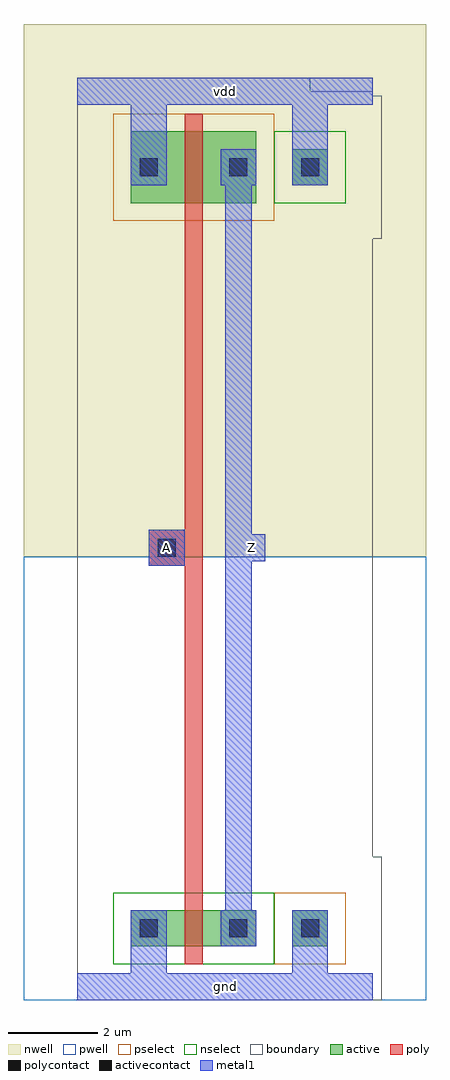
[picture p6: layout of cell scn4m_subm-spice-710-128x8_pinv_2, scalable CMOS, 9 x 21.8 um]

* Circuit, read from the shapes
.subckt scn4m_subm-spice-710-128x8_pinv_2 A Z gnd vdd
M1 Z A gnd gnd nfet w=0.8u l=0.4u
M2 Z A vdd vdd pfet w=1.6u l=0.4u
.ends

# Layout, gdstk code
import gdstk
lib = gdstk.Library(unit=1e-6, precision=1e-09)
def R(c, l, rs):  # rectangles x0, y0, x1, y1
    for r in rs: c.add(gdstk.rectangle(r[:2], r[2:], *l))
pwell = (41, 0)
nwell = (42, 0)
active = (43, 0)
pselect = (44, 0)
nselect = (45, 0)
poly = (46, 0)
polycontact = (47, 0)
activecontact = (48, 0)
metal1 = (49, 0)
boundary = (63, 0)

scn4m_subm_spice_710_128 = lib.new_cell('scn4m_subm-spice-710-128x8_contact_12')
R(scn4m_subm_spice_710_128, nwell, [(-1.2,-1.2,2,2)])
R(scn4m_subm_spice_710_128, active, [(0,0,0.8,0.8)])
R(scn4m_subm_spice_710_128, pselect, [(-0.4,-0.4,1.2,1.2)])
R(scn4m_subm_spice_710_128, activecontact, [(0.2,0.2,0.6,0.6)])
R(scn4m_subm_spice_710_128, metal1, [(0,0,0.8,0.8)])
R(scn4m_subm_spice_710_128, boundary, [(-1.2,-1.2,2,2)])

c_scn4m_subm_spice_710_128 = lib.new_cell('scn4m_subm-spice-710-128x8_pmos_m1_w1_600_sm1_dm1_da_p')
R(c_scn4m_subm_spice_710_128, nwell, [(-1.2,-1.2,4,2.8)])
R(c_scn4m_subm_spice_710_128, active, [(0,0,2.8,1.6)])
R(c_scn4m_subm_spice_710_128, pselect, [(-0.4,-0.4,3.2,2)])
R(c_scn4m_subm_spice_710_128, poly, [(1.2,-0.4,1.6,2), (1.2,-0.4,1.6,2)])
R(c_scn4m_subm_spice_710_128, metal1, [(0,0.4,0.8,1.2), (2,0.4,2.8,1.2)])
R(c_scn4m_subm_spice_710_128, boundary, [(-1.2,-1.2,4,2.8)])
c_scn4m_subm_spice_710_128.add(gdstk.Reference(scn4m_subm_spice_710_128, (0,0.4)))
c_scn4m_subm_spice_710_128.add(gdstk.Reference(scn4m_subm_spice_710_128, (2,0.4)))
c_scn4m_subm_spice_710_128.add(gdstk.Label('G', (1.4,0.8), layer=46, texttype=0))
c_scn4m_subm_spice_710_128.add(gdstk.Label('S', (0.4,0.8), layer=49, texttype=0))
c_scn4m_subm_spice_710_128.add(gdstk.Label('D', (2.4,0.8), layer=49, texttype=0))

c_scn4m_subm_spice_710_128_ = lib.new_cell('scn4m_subm-spice-710-128x8_contact_11')
R(c_scn4m_subm_spice_710_128_, pwell, [(-1.2,-1.2,2,2)])
R(c_scn4m_subm_spice_710_128_, active, [(0,0,0.8,0.8)])
R(c_scn4m_subm_spice_710_128_, nselect, [(-0.4,-0.4,1.2,1.2)])
R(c_scn4m_subm_spice_710_128_, activecontact, [(0.2,0.2,0.6,0.6)])
R(c_scn4m_subm_spice_710_128_, metal1, [(0,0,0.8,0.8)])
R(c_scn4m_subm_spice_710_128_, boundary, [(-1.2,-1.2,2,2)])

c_scn4m_subm_spice_710_128__ = lib.new_cell('scn4m_subm-spice-710-128x8_nmos_m1_w0_800_sm1_dm1_da_p')
R(c_scn4m_subm_spice_710_128__, pwell, [(-1.2,-1.2,4,2)])
R(c_scn4m_subm_spice_710_128__, active, [(0,0,2.8,0.8)])
R(c_scn4m_subm_spice_710_128__, nselect, [(-0.4,-0.4,3.2,1.2)])
R(c_scn4m_subm_spice_710_128__, poly, [(1.2,-0.4,1.6,1.2), (1.2,-0.4,1.6,1.2)])
R(c_scn4m_subm_spice_710_128__, metal1, [(0,0,0.8,0.8), (2,0,2.8,0.8)])
R(c_scn4m_subm_spice_710_128__, boundary, [(-1.2,-1.2,4,2)])
c_scn4m_subm_spice_710_128__.add(gdstk.Reference(c_scn4m_subm_spice_710_128_, (0,0)))
c_scn4m_subm_spice_710_128__.add(gdstk.Reference(c_scn4m_subm_spice_710_128_, (2,0)))
c_scn4m_subm_spice_710_128__.add(gdstk.Label('G', (1.4,0.4), layer=46, texttype=0))
c_scn4m_subm_spice_710_128__.add(gdstk.Label('S', (0.4,0.4), layer=49, texttype=0))
c_scn4m_subm_spice_710_128__.add(gdstk.Label('D', (2.4,0.4), layer=49, texttype=0))

c_scn4m_subm_spice_710_128___ = lib.new_cell('scn4m_subm-spice-710-128x8_contact_13')
R(c_scn4m_subm_spice_710_128___, nwell, [(-1.2,-1.2,2,2)])
R(c_scn4m_subm_spice_710_128___, active, [(0,0,0.8,0.8)])
R(c_scn4m_subm_spice_710_128___, nselect, [(-0.4,-0.4,1.2,1.2)])
R(c_scn4m_subm_spice_710_128___, activecontact, [(0.2,0.2,0.6,0.6)])
R(c_scn4m_subm_spice_710_128___, metal1, [(0,0,0.8,0.8)])
R(c_scn4m_subm_spice_710_128___, boundary, [(-1.2,-1.2,2,2)])

c_scn4m_subm_spice_710_128____ = lib.new_cell('scn4m_subm-spice-710-128x8_contact_14')
R(c_scn4m_subm_spice_710_128____, pwell, [(-1.2,-1.2,2,2)])
R(c_scn4m_subm_spice_710_128____, active, [(0,0,0.8,0.8)])
R(c_scn4m_subm_spice_710_128____, pselect, [(-0.4,-0.4,1.2,1.2)])
R(c_scn4m_subm_spice_710_128____, activecontact, [(0.2,0.2,0.6,0.6)])
R(c_scn4m_subm_spice_710_128____, metal1, [(0,0,0.8,0.8)])
R(c_scn4m_subm_spice_710_128____, boundary, [(-1.2,-1.2,2,2)])

c_scn4m_subm_spice_710_128_____ = lib.new_cell('scn4m_subm-spice-710-128x8_contact_15')
R(c_scn4m_subm_spice_710_128_____, poly, [(0,0,0.8,0.8)])
R(c_scn4m_subm_spice_710_128_____, polycontact, [(0.2,0.2,0.6,0.6)])
R(c_scn4m_subm_spice_710_128_____, metal1, [(0,0,0.8,0.8)])
R(c_scn4m_subm_spice_710_128_____, boundary, [(0,0,0.8,0.8)])

c_scn4m_subm_spice_710_128______ = lib.new_cell('scn4m_subm-spice-710-128x8_pinv_2')
R(c_scn4m_subm_spice_710_128______, pwell, [(-1.2,-0.3,7.8,9.6)])
R(c_scn4m_subm_spice_710_128______, nwell, [(-1.2,9.6,7.8,21.5)])
R(c_scn4m_subm_spice_710_128______, poly, [(2.4,2.1,2.8,17.1), (2,9.4,2.4,10.2)])
R(c_scn4m_subm_spice_710_128______, metal1, [(0,-0.3,6.6,0.3), (1.2,-0.3,2,0.9), (4.8,0,5.6,1.3), (3.3,0.9,3.9,18.7), (1.6,9.4,2.4,10.2), (3.6,9.5,4.2,10.1), (1.2,17.9,2,20.3), (4.8,18.3,5.6,20), (0,19.7,6.6,20.3)])
R(c_scn4m_subm_spice_710_128______, boundary, [(0,0,6.6,20), (0,0,6.6,20)])
c_scn4m_subm_spice_710_128______.add(gdstk.Reference(c_scn4m_subm_spice_710_128, (1.2,17.5)))
c_scn4m_subm_spice_710_128______.add(gdstk.Reference(c_scn4m_subm_spice_710_128__, (1.2,0.9)))
c_scn4m_subm_spice_710_128______.add(gdstk.Reference(c_scn4m_subm_spice_710_128___, (4.8,17.9)))
c_scn4m_subm_spice_710_128______.add(gdstk.Reference(c_scn4m_subm_spice_710_128____, (4.8,0.9)))
c_scn4m_subm_spice_710_128______.add(gdstk.Reference(c_scn4m_subm_spice_710_128_____, (1.6,9.4)))
c_scn4m_subm_spice_710_128______.add(gdstk.Label('A', (2,9.8), layer=49, texttype=0))
c_scn4m_subm_spice_710_128______.add(gdstk.Label('Z', (3.9,9.8), layer=49, texttype=0))
c_scn4m_subm_spice_710_128______.add(gdstk.Label('gnd', (3.3,0), layer=49, texttype=0))
c_scn4m_subm_spice_710_128______.add(gdstk.Label('vdd', (3.3,20), layer=49, texttype=0))

lib.write_gds('scn4m_subm-spice-710-128x8_pinv_2.gds')
